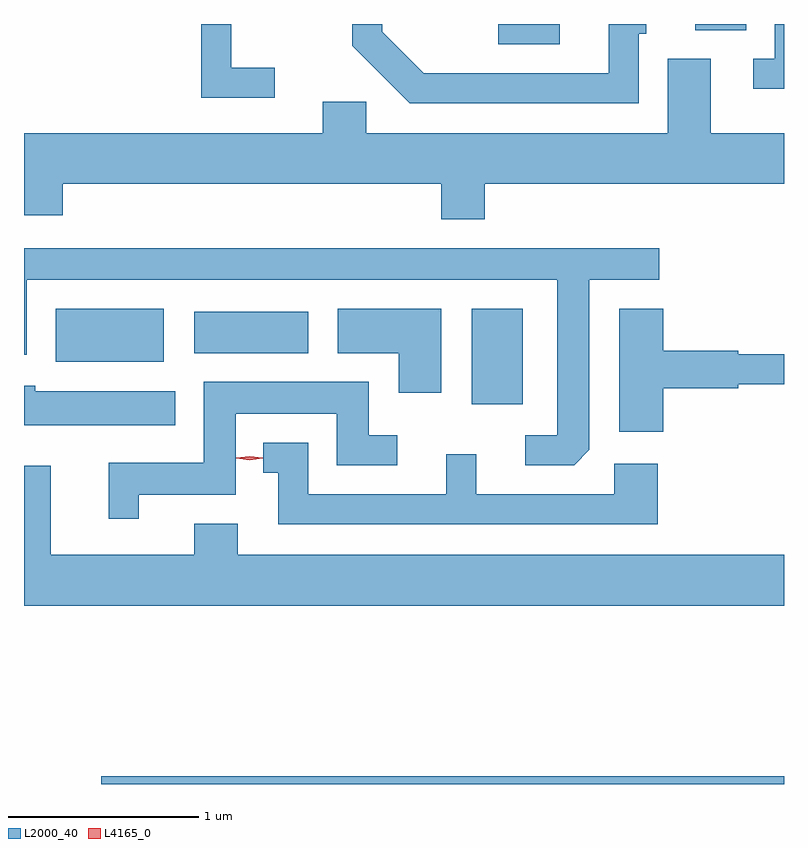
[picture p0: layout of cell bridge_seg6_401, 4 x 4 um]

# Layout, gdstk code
import gdstk
lib = gdstk.Library(unit=1e-6, precision=1e-09)
def R(c, l, rs):  # rectangles x0, y0, x1, y1
    for r in rs: c.add(gdstk.rectangle(r[:2], r[2:], *l))
def P(c, l, *ps):  # polygons
    for p in ps: c.add(gdstk.Polygon(p, *l))
L2000_40 = (2000, 40)
L4165_0 = (4165, 0)

bridge_seg6_401 = lib.new_cell('bridge_seg6_401')
R(bridge_seg6_401, L2000_40, [(856.711,1637.898,860.304,1637.939), (858.661,1639.896,858.929,1640.399), (856.471,1640.121,857.039,1640.399), (857.201,1640.166,857.799,1640.384), (858.801,1641.791,859.123,1641.898), (859.836,1641.866,860.104,1641.898)])
P(bridge_seg6_401, L2000_40, [(859.539,1641.846),(859.579,1641.846),(859.579,1641.898),(859.381,1641.898),(859.381,1641.639),(858.407,1641.639),(858.189,1641.857),(858.189,1641.898),(858.031,1641.898),(858.031,1641.784),(858.334,1641.481),(859.539,1641.481)],
  [(857.623,1641.669),(857.394,1641.669),(857.394,1641.898),(857.236,1641.898),(857.236,1641.511),(857.623,1641.511)],
  [(860.304,1641.898),(860.256,1641.898),(860.256,1641.714),(860.143,1641.714),(860.143,1641.556),(860.304,1641.556)],
  [(857.876,1641.489),(857.876,1641.324),(856.304,1641.324),(856.304,1640.891),(856.509,1640.891),(856.509,1641.056),(858.501,1641.056),(858.501,1640.871),(858.729,1640.871),(858.729,1641.056),(860.304,1641.056),(860.304,1641.324),(859.919,1641.324),(859.919,1641.714),(859.691,1641.714),(859.691,1641.324),(858.104,1641.324),(858.104,1641.489)],
  [(859.279,1639.657),(859.279,1640.551),(859.648,1640.551),(859.648,1640.719),(856.304,1640.719),(856.304,1640.156),(856.319,1640.156),(856.319,1640.551),(859.111,1640.551),(859.111,1639.734),(858.943,1639.734),(858.943,1639.576),(859.199,1639.576)],
  [(858.499,1640.399),(857.956,1640.399),(857.956,1640.166),(858.276,1640.166),(858.276,1639.956),(858.499,1639.956)],
  [(859.669,1639.981),(860.064,1639.981),(860.064,1640.001),(860.304,1640.001),(860.304,1640.159),(860.064,1640.159),(860.064,1640.179),(859.669,1640.179),(859.669,1640.399),(859.436,1640.399),(859.436,1639.751),(859.669,1639.751)],
  [(856.909,1639.421),(857.419,1639.421),(857.419,1639.846),(857.951,1639.846),(857.951,1639.576),(858.268,1639.576),(858.268,1639.734),(858.119,1639.734),(858.119,1640.014),(857.251,1640.014),(857.251,1639.589),(856.751,1639.589),(856.751,1639.293),(856.909,1639.293)],
  [(857.099,1639.964),(856.364,1639.964),(856.364,1639.994),(856.304,1639.994),(856.304,1639.786),(857.099,1639.786)],
  [(859.639,1639.584),(859.411,1639.584),(859.411,1639.424),(858.684,1639.424),(858.684,1639.633),(858.526,1639.633),(858.526,1639.424),(857.799,1639.424),(857.799,1639.694),(857.563,1639.694),(857.563,1639.536),(857.641,1639.536),(857.641,1639.266),(859.639,1639.266)],
  [(860.304,1639.104),(857.429,1639.104),(857.429,1639.269),(857.201,1639.269),(857.201,1639.104),(856.444,1639.104),(856.444,1639.573),(856.304,1639.573),(856.304,1638.836),(860.304,1638.836)])
P(bridge_seg6_401, L4165_0, [(857.491,1639.603),(857.422,1639.613),(857.422,1639.613),(857.422,1639.614),(857.491,1639.623),(857.561,1639.614),(857.561,1639.613),(857.561,1639.613)])

lib.write_gds('bridge_seg6_401.gds')
